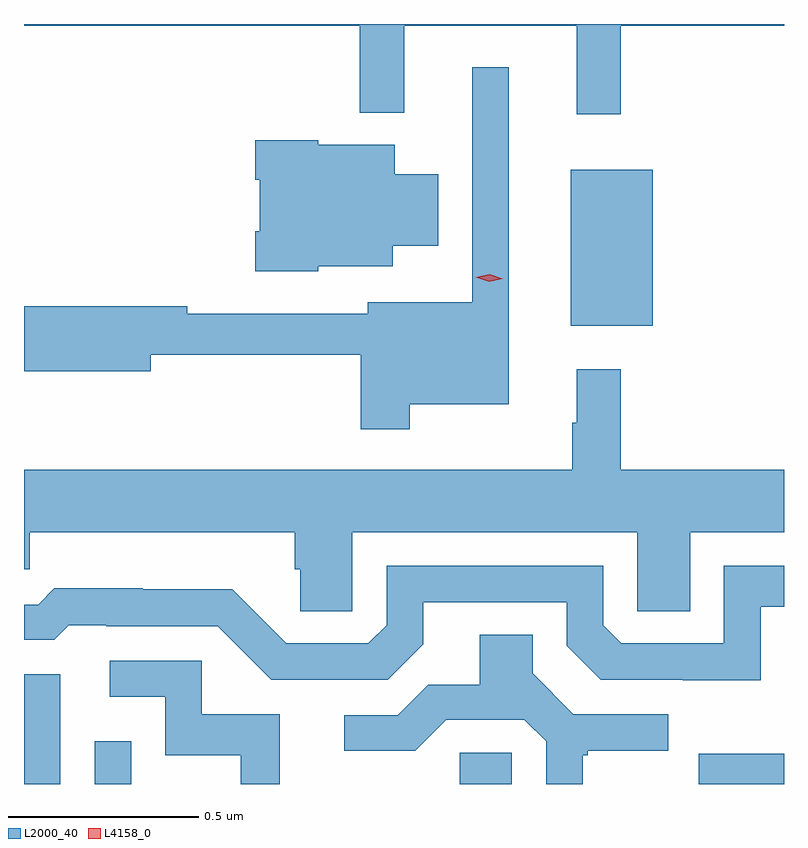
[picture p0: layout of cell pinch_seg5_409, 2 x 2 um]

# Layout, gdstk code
import gdstk
lib = gdstk.Library(unit=1e-6, precision=1e-09)
def R(c, l, rs):  # rectangles x0, y0, x1, y1
    for r in rs: c.add(gdstk.rectangle(r[:2], r[2:], *l))
def P(c, l, *ps):  # polygons
    for p in ps: c.add(gdstk.Polygon(p, *l))
L2000_40 = (2000, 40)
L4158_0 = (4158, 0)

pinch_seg5_409 = lib.new_cell('pinch_seg5_409')
R(pinch_seg5_409, L2000_40, [(984.348,868.085,984.444,868.374), (984.534,868.085,984.63,868.198), (985.495,868.085,985.632,868.167), (986.124,868.085,986.348,868.164), (985.787,869.291,986.002,869.701)])
P(pinch_seg5_409, L2000_40, [(986.348,870.085),(984.348,870.085),(984.348,870.08),(985.231,870.08),(985.231,869.852),(985.349,869.852),(985.349,870.08),(985.802,870.08),(985.802,869.847),(985.919,869.847),(985.919,870.08),(986.348,870.08)],
  [(985.363,869.084),(985.624,869.084),(985.624,869.971),(985.527,869.971),(985.527,869.353),(985.253,869.353),(985.253,869.322),(984.778,869.322),(984.778,869.342),(984.348,869.342),(984.348,869.171),(984.682,869.171),(984.682,869.214),(985.234,869.214),(985.234,869.019),(985.363,869.019)],
  [(985.122,869.447),(985.318,869.447),(985.318,869.501),(985.438,869.501),(985.438,869.689),(985.324,869.689),(985.324,869.767),(985.122,869.767),(985.122,869.779),(984.956,869.779),(984.956,869.675),(984.968,869.675),(984.968,869.539),(984.956,869.539),(984.956,869.435),(985.122,869.435)],
  [(985.212,868.748),(985.962,868.748),(985.962,868.54),(986.101,868.54),(986.101,868.748),(986.348,868.748),(986.348,868.912),(985.919,868.912),(985.919,869.176),(985.802,869.176),(985.802,869.036),(985.791,869.036),(985.791,868.912),(984.348,868.912),(984.348,868.65),(984.363,868.65),(984.363,868.748),(985.061,868.748),(985.061,868.65),(985.075,868.65),(985.075,868.54),(985.212,868.54)],
  [(986.287,868.551),(986.348,868.551),(986.348,868.659),(986.19,868.659),(986.19,868.455),(985.92,868.455),(985.872,868.503),(985.872,868.659),(985.302,868.659),(985.302,868.503),(985.254,868.455),(985.038,868.455),(984.896,868.597),(984.66,868.597),(984.66,868.6),(984.427,868.6),(984.385,868.557),(984.348,868.557),(984.348,868.464),(984.427,868.464),(984.466,868.503),(984.565,868.503),(984.565,868.5),(984.858,868.5),(984.999,868.359),(985.305,868.359),(985.399,868.453),(985.399,868.563),(985.776,868.563),(985.776,868.449),(985.866,868.359),(986.082,868.359),(986.082,868.358),(986.287,868.358)],
  [(985.819,868.161),(985.831,868.161),(985.831,868.172),(986.044,868.172),(986.044,868.269),(985.794,868.269),(985.687,868.376),(985.687,868.478),(985.547,868.478),(985.547,868.346),(985.412,868.346),(985.332,868.266),(985.191,868.266),(985.191,868.173),(985.378,868.173),(985.459,868.254),(985.665,868.254),(985.722,868.197),(985.722,868.085),(985.819,868.085)],
  [(985.021,868.269),(984.816,868.269),(984.816,868.41),(984.573,868.41),(984.573,868.314),(984.72,868.314),(984.72,868.161),(984.919,868.161),(984.919,868.085),(985.021,868.085)])
P(pinch_seg5_409, L4158_0, [(985.572,869.407),(985.537,869.418),(985.537,869.418),(985.537,869.419),(985.573,869.427),(985.608,869.415),(985.608,869.415),(985.608,869.415)])

lib.write_gds('pinch_seg5_409.gds')
